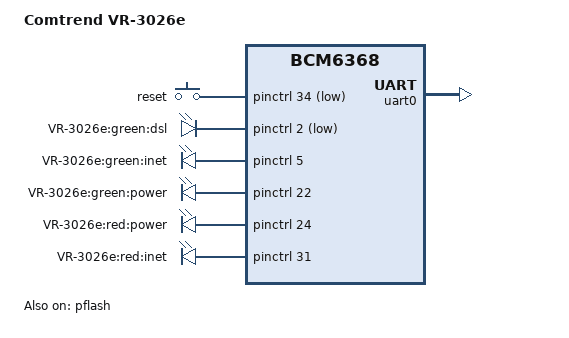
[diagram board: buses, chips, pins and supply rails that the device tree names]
/dts-v1/;

#include "bcm6368.dtsi"

#include <dt-bindings/input/input.h>

/ {
	model = "Comtrend VR-3026e";
	compatible = "comtrend,vr-3026e", "brcm,bcm6368";

	aliases {
		led-boot = &led_power_green;
		led-failsafe = &led_power_green;
		led-running = &led_power_green;
		led-upgrade = &led_power_green;
	};

	chosen {
		bootargs = "rootfstype=squashfs,jffs2 noinitrd console=ttyS0,115200";
		stdout-path = "serial0:115200n8";
	};

	keys {
		compatible = "gpio-keys-polled";
		#address-cells = <1>;
		#size-cells = <0>;
		poll-interval = <20>;

		reset {
			label = "reset";
			gpios = <&pinctrl 34 1>;
			linux,code = <KEY_RESTART>;
			debounce-interval = <60>;
		};
	};

	leds {
		compatible = "gpio-leds";

		dsl_green {
			label = "VR-3026e:green:dsl";
			gpios = <&pinctrl 2 1>;
		};
		inet_green {
			label = "VR-3026e:green:inet";
			gpios = <&pinctrl 5 0>;
		};
		led_power_green: power_green {
			label = "VR-3026e:green:power";
			gpios = <&pinctrl 22 0>;
			default-state = "on";
		};
		power_red {
			label = "VR-3026e:red:power";
			gpios = <&pinctrl 24 0>;
		};
		inet_red {
			label = "VR-3026e:red:inet";
			gpios = <&pinctrl 31 0>;
		};
	};
};

&pflash {
	status = "okay";

	partitions {
		compatible = "fixed-partitions";
		#address-cells = <1>;
		#size-cells = <1>;

		cfe@0 {
			label = "CFE";
			reg = <0x000000 0x010000>;
			read-only;
		};

		linux@10000 {
			label = "linux";
			reg = <0x010000 0x7e0000>;
			compatible = "brcm,bcm963xx-imagetag";
		};

		nvram@7f0000 {
			label = "nvram";
			reg = <0x7f0000 0x010000>;
		};
	};
};

&pinctrl {
	pinctrl-names = "default";
	pinctrl-0 = <&pinctrl_pci &pinctrl_ephy0_led &pinctrl_ephy1_led
		     &pinctrl_ephy2_led &pinctrl_ephy3_led>;
};

&uart0 {
	status = "okay";
};
